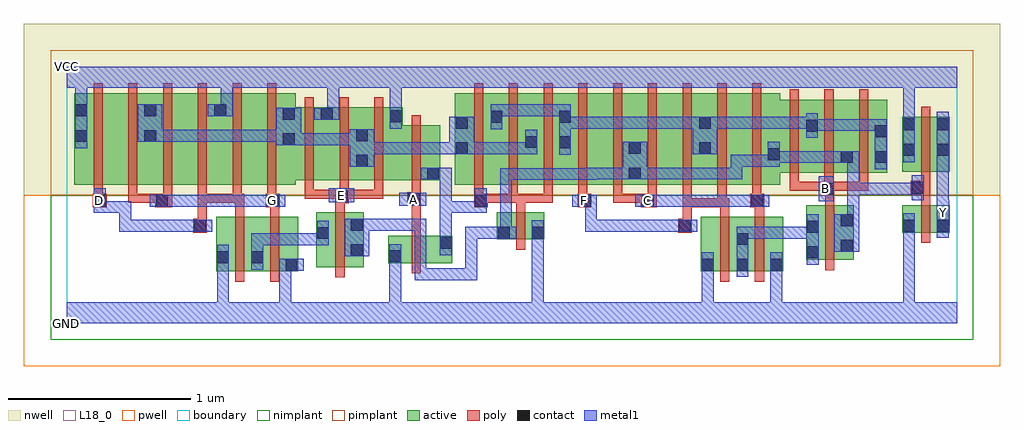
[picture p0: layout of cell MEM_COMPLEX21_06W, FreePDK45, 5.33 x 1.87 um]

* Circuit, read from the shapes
.subckt MEM_COMPLEX21_06W A B C D E F G GND VCC Y
M1 n1 D GND VSUBS nfet w=0.3u l=0.05u
M2 GND G n1 VSUBS nfet w=0.3u l=0.05u
M3 n2 E n1 VSUBS nfet w=0.3u l=0.05u
M4 n3 A GND VSUBS nfet w=0.15u l=0.05u
M5 GND n3 n2 VSUBS nfet w=0.15u l=0.05u
M6 n4 F GND VSUBS nfet w=0.3u l=0.05u
M7 GND C n4 VSUBS nfet w=0.3u l=0.05u
M8 n2 B n4 VSUBS nfet w=0.3u l=0.05u
M9 Y n2 GND VSUBS nfet w=0.15u l=0.05u
M10 n5 D VCC n6 pfet w=0.5u l=0.05u
M11 n7 G n5 n6 pfet w=0.5u l=0.05u
M12 n8 G n7 n6 pfet w=0.5u l=0.05u
M13 VCC D n8 n6 pfet w=0.5u l=0.05u
M14 n9 D VCC n6 pfet w=0.5u l=0.05u
M15 n7 G n9 n6 pfet w=0.5u l=0.05u
M16 VCC E n7 n6 pfet w=0.4u l=0.05u m=3
M17 n3 A VCC n6 pfet w=0.3u l=0.05u
M18 n10 n3 n7 n6 pfet w=0.5u l=0.05u m=3
M19 n11 F n10 n6 pfet w=0.5u l=0.05u
M20 n2 C n11 n6 pfet w=0.5u l=0.05u
M21 n12 C n2 n6 pfet w=0.5u l=0.05u
M22 n10 F n12 n6 pfet w=0.5u l=0.05u
M23 n13 F n10 n6 pfet w=0.5u l=0.05u
M24 n2 C n13 n6 pfet w=0.5u l=0.05u
M25 n10 B n2 n6 pfet w=0.4u l=0.05u m=3
M26 Y n2 VCC n6 pfet w=0.3u l=0.05u
.ends

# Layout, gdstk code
import gdstk
lib = gdstk.Library(unit=1e-6, precision=1e-09)
def R(c, l, rs):  # rectangles x0, y0, x1, y1
    for r in rs: c.add(gdstk.rectangle(r[:2], r[2:], *l))
def A(c, l, x, y, w, h, nx, ny, dx, dy):  # array of equal rectangles
    R(c, l, [(x+i*dx, y+j*dy, x+i*dx+w, y+j*dy+h) for i in range(nx) for j in range(ny)])
active = (1, 0)
pwell = (2, 0)
nwell = (3, 0)
nimplant = (4, 0)
pimplant = (5, 0)
poly = (9, 0)
contact = (10, 0)
metal1 = (11, 0)
L18_0 = (18, 0)
boundary = (235, 0)

mem_complex21_06w = lib.new_cell('MEM_COMPLEX21_06W')
R(mem_complex21_06w, active, [(0.815,0.282,0.89,0.582), (0.815,0.282,1.077,0.582), (1.002,0.282,1.077,0.582), (1.002,0.282,1.265,0.582), (1.19,0.282,1.265,0.582), (3.465,0.282,3.54,0.582), (3.465,0.282,3.73,0.582), (3.655,0.282,3.915,0.582), (3.655,0.282,3.73,0.497), (3.84,0.282,3.915,0.582), (1.362,0.305,1.622,0.605), (1.757,0.327,1.832,0.477), (1.757,0.327,2.107,0.477), (2.032,0.33,2.107,0.477), (1.362,0.345,1.437,0.605), (1.547,0.345,1.622,0.605), (4.04,0.345,4.115,0.645), (4.04,0.345,4.3,0.645), (4.225,0.345,4.3,0.645), (2.35,0.457,2.425,0.607), (2.35,0.457,2.61,0.607), (2.535,0.457,2.61,0.607), (4.565,0.495,4.64,0.645), (4.565,0.495,4.825,0.645), (4.75,0.495,4.825,0.645), (0.04,0.757,0.265,1.257), (0.04,0.757,0.115,1.255), (0.265,0.757,0.492,1.257), (0.417,0.757,0.492,1.2), (0.417,0.757,0.645,1.257), (0.645,0.757,0.875,1.257), (0.8,0.757,1.025,1.257), (0.8,0.757,0.875,1.255), (1.025,0.757,1.25,1.257), (2.12,0.757,2.195,1.2), (2.12,0.757,2.385,1.257), (2.31,0.757,2.385,1.2), (2.31,0.757,2.575,1.257), (2.5,0.757,2.575,1.07), (2.5,0.757,2.76,1.257), (2.685,0.757,2.76,1.2), (2.685,0.757,2.915,1.257), (2.915,0.757,3.142,1.257), (3.067,0.757,3.295,1.257), (3.067,0.757,3.142,1.07), (3.295,0.757,3.525,1.257), (3.45,0.757,3.675,1.257), (3.45,0.757,3.525,1.2), (3.675,0.757,3.9,1.257), (1.175,0.78,1.457,1.18), (1.382,0.78,1.65,1.18), (1.575,0.78,1.835,1.18), (1.575,0.78,1.65,1.155), (1.76,0.78,2.04,1.08), (1.965,0.78,2.04,1.055), (3.825,0.822,3.9,1.07), (3.825,0.822,4.11,1.222), (4.035,0.822,4.3,1.222), (4.225,0.822,4.485,1.222), (4.225,0.822,4.3,1.07), (4.41,0.822,4.485,1.155), (4.565,0.827,4.64,1.127), (4.565,0.827,4.825,1.127), (4.75,0.827,4.825,1.125), (1.175,0.907,1.25,1.2), (1.382,0.907,1.457,1.18), (4.035,0.907,4.11,1.157), (1.76,0.995,1.835,1.167)])
R(mem_complex21_06w, pwell, [(-0.235,-0.235,5.1,0.7)])
R(mem_complex21_06w, nwell, [(-0.235,0.7,5.1,1.635)])
R(mem_complex21_06w, nimplant, [(-0.09,-0.09,4.955,0.7)])
R(mem_complex21_06w, pimplant, [(-0.09,0.7,4.955,1.49)])
A(mem_complex21_06w, poly, 0.145, 0.657, 0.05, 0.095, 6, 1, 0.19, 0)
A(mem_complex21_06w, poly, 2.225, 0.657, 0.05, 0.095, 6, 1, 0.19, 0)
A(mem_complex21_06w, poly, 1.3, 0.68, 0.05, 0.095, 3, 1, 0.19, 0)
A(mem_complex21_06w, poly, 0.145, 0.702, 0.05, 0.61, 6, 1, 0.19, 0)
A(mem_complex21_06w, poly, 2.225, 0.702, 0.05, 0.61, 9, 1, 0.19, 0)
A(mem_complex21_06w, poly, 3.95, 0.722, 0.05, 0.095, 3, 1, 0.19, 0)
A(mem_complex21_06w, poly, 1.3, 0.725, 0.05, 0.51, 3, 1, 0.19, 0)
A(mem_complex21_06w, poly, 3.95, 0.767, 0.05, 0.51, 3, 1, 0.19, 0)
R(mem_complex21_06w, poly, [(0.92,0.227,0.97,0.637), (1.11,0.227,1.16,0.637), (3.57,0.227,3.62,0.637), (3.76,0.227,3.81,0.637), (1.467,0.25,1.517,0.66), (1.885,0.272,1.935,0.532), (4.145,0.29,4.195,0.7), (2.455,0.402,2.505,0.662), (4.67,0.44,4.72,0.7), (1.885,0.482,1.935,0.69), (0.69,0.495,0.765,0.57), (3.34,0.495,3.415,0.57), (0.715,0.52,0.765,0.707), (3.365,0.52,3.415,0.57), (3.365,0.52,3.415,0.57), (3.365,0.52,3.415,0.682), (0.92,0.587,0.97,0.707), (1.11,0.587,1.16,0.682), (3.57,0.587,3.62,0.682), (3.76,0.587,3.81,0.682), (1.467,0.61,1.517,0.705), (2.455,0.612,2.505,0.707), (0.142,0.632,0.217,0.707), (0.482,0.632,0.575,0.707), (1.087,0.632,1.162,0.707), (2.225,0.632,2.3,0.707), (2.792,0.632,2.867,0.707), (3.137,0.632,3.225,0.707), (3.365,0.632,3.415,0.682), (3.365,0.632,3.415,0.682), (3.365,0.632,3.415,0.682), (3.365,0.632,3.415,0.752), (3.365,0.632,3.605,0.682), (3.555,0.632,3.605,0.752), (3.555,0.632,3.62,0.682), (3.735,0.632,3.81,0.707), (1.86,0.64,1.935,0.715), (4.145,0.65,4.195,0.747), (4.67,0.65,4.72,0.752), (1.465,0.655,1.54,0.73), (0.335,0.657,0.385,0.707), (0.335,0.657,0.385,0.707), (0.335,0.657,0.385,0.707), (0.335,0.657,0.532,0.707), (0.715,0.657,0.765,0.707), (0.715,0.657,0.765,0.707), (0.715,0.657,0.765,0.707), (0.715,0.657,0.955,0.707), (0.905,0.657,0.955,0.707), (0.905,0.657,0.955,0.707), (0.905,0.657,0.97,0.707), (2.25,0.657,2.465,0.707), (2.415,0.657,2.465,0.707), (2.415,0.657,2.465,0.707), (2.415,0.657,2.505,0.707), (2.455,0.657,2.655,0.707), (2.605,0.657,2.655,0.707), (2.605,0.657,2.655,0.707), (2.605,0.657,2.655,0.707), (2.985,0.657,3.035,0.707), (2.985,0.657,3.035,0.707), (2.985,0.657,3.035,0.707), (2.985,0.657,3.187,0.707), (3.745,0.657,3.795,0.752), (1.885,0.665,1.935,0.775), (1.3,0.68,1.35,0.73), (1.3,0.68,1.515,0.73), (1.465,0.68,1.515,0.73), (1.465,0.68,1.515,0.73), (1.49,0.68,1.73,0.73), (1.68,0.68,1.73,0.73), (1.68,0.68,1.73,0.73), (1.68,0.68,1.73,0.73), (4.12,0.697,4.195,0.772), (4.612,0.702,4.72,0.777), (3.95,0.722,4,0.772), (3.95,0.722,4,0.772), (3.95,0.722,4,0.772), (3.95,0.722,4.17,0.772), (4.145,0.722,4.38,0.772), (4.145,0.722,4.195,0.772), (4.145,0.722,4.195,0.772), (4.33,0.722,4.38,0.772), (1.885,0.725,1.935,1.135), (4.67,0.727,4.72,0.822), (4.67,0.772,4.72,1.182)])
R(mem_complex21_06w, contact, [(1.195,0.287,1.26,0.352), (3.47,0.287,3.535,0.352), (3.66,0.287,3.725,0.352), (3.845,0.287,3.91,0.352), (0.82,0.327,0.885,0.392), (1.007,0.327,1.072,0.392), (1.762,0.332,1.827,0.397), (4.045,0.355,4.11,0.42), (1.552,0.365,1.617,0.43), (4.23,0.39,4.295,0.455), (2.037,0.407,2.102,0.472), (3.66,0.427,3.725,0.492), (1.367,0.46,1.432,0.525), (2.355,0.462,2.42,0.527), (2.54,0.462,2.605,0.527), (4.045,0.495,4.11,0.56), (0.695,0.5,0.76,0.565), (3.345,0.5,3.41,0.565), (4.57,0.5,4.635,0.565), (4.755,0.5,4.82,0.565), (1.552,0.505,1.617,0.57), (4.23,0.53,4.295,0.595), (0.147,0.637,0.212,0.702), (0.487,0.637,0.552,0.702), (1.092,0.637,1.157,0.702), (2.23,0.637,2.295,0.702), (2.797,0.637,2.862,0.702), (3.142,0.637,3.207,0.702), (3.74,0.637,3.805,0.702), (1.865,0.645,1.93,0.71), (1.47,0.66,1.535,0.725), (4.125,0.702,4.19,0.767), (4.617,0.707,4.682,0.772), (1.97,0.785,2.035,0.85), (3.072,0.785,3.137,0.85), (1.58,0.855,1.645,0.92), (4.23,0.875,4.295,0.94), (4.415,0.875,4.48,0.94), (3.83,0.89,3.895,0.955), (4.57,0.915,4.635,0.98), (4.755,0.915,4.82,0.98), (2.125,0.922,2.19,0.987), (3.455,0.922,3.52,0.987), (3.072,0.925,3.137,0.99), (2.69,0.955,2.755,1.02), (2.505,0.957,2.57,1.022), (1.18,0.972,1.245,1.037), (0.045,0.99,0.11,1.055), (0.422,0.99,0.487,1.055), (1.58,0.995,1.645,1.06), (4.415,1.015,4.48,1.08), (4.04,1.047,4.105,1.112), (4.57,1.055,4.635,1.12), (4.755,1.055,4.82,1.12), (2.125,1.062,2.19,1.127), (3.455,1.062,3.52,1.127), (2.315,1.095,2.38,1.16), (2.69,1.095,2.755,1.16), (1.765,1.097,1.83,1.162), (1.387,1.11,1.452,1.175), (1.18,1.112,1.245,1.177), (0.045,1.13,0.11,1.195), (0.422,1.13,0.487,1.195), (0.805,1.13,0.87,1.195)])
R(mem_complex21_06w, metal1, [(0,0,4.865,0.115), (0.82,0.05,0.885,0.115), (0.82,0.05,0.885,0.115), (0.82,0.05,0.885,0.115), (0.82,0.05,0.885,0.115), (0.82,0.05,0.885,0.357), (1.16,0.05,1.225,0.352), (1.762,0.05,1.827,0.115), (1.762,0.05,1.827,0.115), (1.762,0.05,1.827,0.362), (2.54,0.05,2.605,0.115), (2.54,0.05,2.605,0.115), (2.54,0.05,2.605,0.115), (2.54,0.05,2.605,0.115), (2.54,0.05,2.605,0.115), (2.54,0.05,2.605,0.115), (2.54,0.05,2.605,0.492), (3.47,0.05,3.535,0.115), (3.47,0.05,3.535,0.115), (3.47,0.05,3.535,0.115), (3.47,0.05,3.535,0.115), (3.47,0.05,3.535,0.317), (3.845,0.05,3.91,0.115), (3.845,0.05,3.91,0.115), (3.845,0.05,3.91,0.317), (4.57,0.05,4.635,0.115), (4.57,0.05,4.635,0.115), (4.57,0.05,4.635,0.115), (4.57,0.05,4.635,0.115), (4.57,0.05,4.635,0.115), (4.57,0.05,4.635,0.115), (4.57,0.05,4.635,0.53), (1.9,0.235,1.965,0.3), (1.9,0.235,1.965,0.3), (1.9,0.235,1.965,0.3), (1.9,0.235,2.242,0.3), (1.9,0.235,1.965,0.57), (2.177,0.235,2.242,0.3), (2.177,0.235,2.242,0.527), (3.47,0.252,3.535,0.387), (3.66,0.252,3.725,0.527), (3.845,0.252,3.91,0.317), (3.845,0.252,3.91,0.317), (3.845,0.252,3.91,0.387), (1.16,0.287,1.225,0.352), (1.16,0.287,1.225,0.352), (1.16,0.287,1.225,0.352), (1.16,0.287,1.225,0.352), (1.16,0.287,1.295,0.352), (0.82,0.292,0.885,0.427), (1.007,0.292,1.072,0.427), (1.762,0.297,1.827,0.362), (1.762,0.297,1.827,0.362), (1.762,0.297,1.827,0.362), (1.762,0.297,1.827,0.362), (1.762,0.297,1.827,0.432), (4.045,0.32,4.11,0.595), (1.007,0.362,1.072,0.427), (1.007,0.362,1.072,0.49), (1.517,0.365,1.652,0.57), (2.037,0.372,2.102,0.507), (4.195,0.39,4.33,0.595), (1.007,0.425,1.28,0.49), (1.215,0.425,1.28,0.49), (1.215,0.425,1.28,0.49), (1.215,0.425,1.28,0.49), (1.215,0.425,1.432,0.49), (1.367,0.425,1.432,0.56), (2.54,0.427,2.605,0.562), (2.037,0.442,2.102,0.667), (2.177,0.462,2.242,0.527), (2.177,0.462,2.242,0.527), (2.177,0.462,2.242,0.527), (2.177,0.462,2.385,0.527), (2.32,0.462,2.455,0.527), (2.367,0.462,2.432,0.527), (2.367,0.462,2.432,0.527), (2.367,0.462,2.432,0.847), (3.66,0.462,3.725,0.527), (3.66,0.462,3.725,0.527), (3.66,0.462,3.967,0.527), (3.902,0.462,3.967,0.527), (3.902,0.462,3.967,0.527), (3.902,0.462,3.967,0.527), (3.902,0.462,4.11,0.527), (4.57,0.465,4.635,0.6), (4.755,0.465,4.82,0.6), (0.285,0.5,0.35,0.565), (0.285,0.5,0.587,0.565), (0.285,0.5,0.35,0.667), (0.522,0.5,0.587,0.565), (0.522,0.5,0.66,0.565), (0.595,0.5,0.66,0.565), (0.595,0.5,0.66,0.565), (0.595,0.5,0.66,0.565), (0.595,0.5,0.725,0.565), (0.66,0.5,0.795,0.565), (2.832,0.5,2.897,0.565), (2.832,0.5,3.035,0.565), (2.832,0.5,2.897,0.702), (2.97,0.5,3.035,0.565), (2.97,0.5,3.035,0.565), (2.97,0.5,3.035,0.565), (2.97,0.5,3.22,0.565), (3.155,0.5,3.22,0.565), (3.155,0.5,3.347,0.565), (3.282,0.5,3.347,0.565), (3.282,0.5,3.347,0.565), (3.282,0.5,3.347,0.565), (3.282,0.5,3.375,0.565), (3.31,0.5,3.445,0.565), (1.587,0.505,1.652,0.57), (1.587,0.505,1.652,0.57), (1.587,0.505,1.827,0.57), (1.762,0.505,1.827,0.57), (1.762,0.505,1.965,0.57), (1.9,0.505,1.965,0.57), (4.265,0.53,4.33,0.767), (4.755,0.535,4.82,0.6), (4.755,0.535,4.822,0.672), (0.147,0.602,0.212,0.667), (0.147,0.602,0.212,0.667), (0.147,0.602,0.212,0.737), (0.147,0.602,0.35,0.667), (0.285,0.602,0.35,0.667), (0.285,0.602,0.35,0.667), (0.285,0.602,0.35,0.667), (2.037,0.602,2.102,0.667), (2.037,0.602,2.102,0.667), (2.037,0.602,2.102,0.667), (2.037,0.602,2.295,0.667), (2.037,0.602,2.102,0.85), (2.23,0.602,2.295,0.737), (4.755,0.607,4.82,0.945), (0.452,0.637,0.587,0.702), (0.522,0.637,0.66,0.702), (0.595,0.637,0.66,0.702), (0.595,0.637,0.797,0.702), (0.732,0.637,0.797,0.702), (0.732,0.637,0.797,0.702), (0.732,0.637,0.797,0.702), (0.732,0.637,0.935,0.702), (0.87,0.637,0.935,0.702), (0.87,0.637,0.935,0.702), (0.87,0.637,0.935,0.702), (0.87,0.637,1.122,0.702), (1.057,0.637,1.192,0.702), (2.762,0.637,2.897,0.702), (2.832,0.637,2.897,0.702), (2.832,0.637,2.897,0.702), (3.107,0.637,3.242,0.702), (3.177,0.637,3.347,0.702), (3.282,0.637,3.347,0.702), (3.282,0.637,3.38,0.702), (3.315,0.637,3.38,0.702), (3.315,0.637,3.555,0.702), (3.49,0.637,3.555,0.702), (3.49,0.637,3.555,0.702), (3.49,0.637,3.555,0.702), (3.49,0.637,3.72,0.702), (3.655,0.637,3.72,0.702), (3.655,0.637,3.77,0.702), (3.705,0.637,3.84,0.702), (1.817,0.642,1.965,0.712), (1.432,0.66,1.57,0.737), (4.11,0.667,4.19,0.802), (4.617,0.672,4.682,0.807), (4.265,0.702,4.33,0.767), (4.265,0.702,4.407,0.767), (4.265,0.702,4.33,0.94), (4.342,0.702,4.407,0.767), (4.342,0.702,4.545,0.767), (4.48,0.702,4.545,0.767), (4.48,0.702,4.545,0.767), (4.48,0.702,4.545,0.767), (4.48,0.702,4.682,0.767), (2.367,0.782,2.432,0.847), (2.367,0.782,2.432,0.847), (2.367,0.782,2.432,0.847), (2.367,0.782,2.57,0.847), (2.505,0.782,2.57,0.847), (2.505,0.782,2.57,0.847), (2.505,0.782,2.57,0.847), (2.505,0.782,2.742,0.847), (2.677,0.782,2.742,0.847), (2.677,0.782,2.742,0.847), (2.677,0.782,2.742,0.847), (2.677,0.782,2.897,0.847), (2.832,0.782,2.897,0.85), (1.935,0.785,2.102,0.85), (2.832,0.785,3.035,0.85), (2.97,0.785,3.035,0.85), (2.97,0.785,3.102,0.85), (3.037,0.785,3.172,0.99), (3.107,0.785,3.172,0.85), (3.107,0.785,3.172,0.85), (3.107,0.785,3.347,0.85), (3.282,0.785,3.347,0.85), (3.282,0.785,3.38,0.85), (3.315,0.785,3.38,0.85), (3.315,0.785,3.555,0.85), (3.49,0.785,3.555,0.85), (3.49,0.785,3.555,0.85), (3.49,0.785,3.555,0.85), (3.49,0.785,3.692,0.85), (3.627,0.785,3.692,0.92), (4.415,0.84,4.48,1.115), (1.545,0.855,1.68,1.06), (3.627,0.855,3.692,0.92), (3.627,0.855,3.692,0.92), (3.627,0.855,3.895,0.92), (3.83,0.855,3.895,0.99), (3.83,0.875,3.895,0.94), (3.83,0.875,3.895,0.94), (3.83,0.875,4.105,0.94), (4.04,0.875,4.105,0.94), (4.04,0.875,4.26,0.94), (4.195,0.875,4.26,0.94), (4.195,0.875,4.26,0.94), (4.195,0.875,4.33,0.94), (4.57,0.88,4.635,1.155), (4.755,0.88,4.82,1.155), (2.69,0.92,2.755,1.195), (1.615,0.922,1.68,0.987), (1.615,0.922,1.68,0.987), (1.615,0.922,1.817,0.987), (1.752,0.922,1.817,0.987), (1.752,0.922,1.817,0.987), (1.752,0.922,1.817,0.987), (1.752,0.922,1.817,0.987), (1.752,0.922,1.817,0.987), (1.752,0.922,1.967,0.987), (1.902,0.922,1.967,0.987), (1.902,0.922,2.155,0.987), (2.09,0.922,2.225,1.127), (2.16,0.922,2.24,0.987), (2.175,0.922,2.24,0.987), (2.175,0.922,2.432,0.987), (2.367,0.922,2.432,0.987), (2.367,0.922,2.432,0.987), (2.367,0.922,2.432,0.987), (2.367,0.922,2.57,0.987), (2.505,0.922,2.57,1.057), (3.42,0.922,3.555,1.127), (0.045,0.955,0.11,1.23), (1.145,0.972,1.28,1.177), (1.215,0.972,1.28,1.037), (1.215,0.972,1.28,1.037), (1.215,0.972,1.445,1.037), (1.38,0.972,1.445,1.037), (1.38,0.972,1.445,1.037), (1.38,0.972,1.445,1.037), (1.38,0.972,1.61,1.037), (0.387,0.99,0.522,1.195), (0.457,0.992,0.522,1.057), (0.457,0.992,0.522,1.057), (0.457,0.992,0.66,1.057), (0.595,0.992,0.66,1.057), (0.595,0.992,0.797,1.057), (0.732,0.992,0.797,1.057), (0.732,0.992,0.797,1.057), (0.732,0.992,0.797,1.057), (0.732,0.992,0.935,1.057), (0.87,0.992,0.935,1.057), (0.87,0.992,0.935,1.057), (0.87,0.992,0.935,1.057), (0.87,0.992,1.142,1.057), (1.077,0.992,1.142,1.057), (1.077,0.992,1.21,1.057), (4.04,1.012,4.105,1.147), (4.04,1.05,4.105,1.115), (4.04,1.05,4.105,1.115), (4.04,1.05,4.242,1.115), (4.177,1.05,4.242,1.115), (4.177,1.05,4.407,1.115), (4.342,1.05,4.407,1.115), (4.342,1.05,4.48,1.115), (2.315,1.06,2.38,1.195), (1.765,1.062,1.83,1.197), (2.69,1.062,2.755,1.127), (2.69,1.062,2.755,1.127), (2.69,1.062,2.897,1.127), (2.832,1.062,2.897,1.127), (2.832,1.062,3.035,1.127), (2.97,1.062,3.035,1.127), (2.97,1.062,3.172,1.127), (3.107,1.062,3.172,1.127), (3.107,1.062,3.172,1.127), (3.107,1.062,3.172,1.127), (3.107,1.062,3.347,1.127), (3.282,1.062,3.347,1.127), (3.282,1.062,3.38,1.127), (3.315,1.062,3.38,1.127), (3.315,1.062,3.485,1.127), (3.49,1.062,3.555,1.127), (3.49,1.062,3.555,1.127), (3.49,1.062,3.757,1.127), (3.692,1.062,3.757,1.127), (3.692,1.062,3.757,1.127), (3.692,1.062,3.757,1.127), (3.692,1.062,3.967,1.127), (3.902,1.062,3.967,1.127), (3.902,1.062,3.967,1.127), (3.902,1.062,3.967,1.127), (3.902,1.062,4.105,1.127), (4.57,1.09,4.635,1.35), (1.352,1.11,1.487,1.175), (1.422,1.11,1.487,1.35), (0.77,1.13,0.905,1.195), (0.84,1.13,0.905,1.35), (2.315,1.13,2.432,1.195), (2.367,1.13,2.432,1.195), (2.367,1.13,2.57,1.195), (2.505,1.13,2.57,1.195), (2.505,1.13,2.57,1.195), (2.505,1.13,2.57,1.195), (2.505,1.13,2.755,1.195), (1.765,1.132,1.83,1.35), (0.045,1.165,0.11,1.35), (0,1.285,4.865,1.4), (4.57,1.285,4.635,1.35), (4.57,1.285,4.635,1.35)])
R(mem_complex21_06w, L18_0, [(0,0,4.865,0.115), (0.82,0.05,0.885,0.115), (0.82,0.05,0.885,0.115), (0.82,0.05,0.885,0.115), (0.82,0.05,0.885,0.115), (0.82,0.05,0.885,0.357), (1.16,0.05,1.225,0.352), (1.762,0.05,1.827,0.115), (1.762,0.05,1.827,0.115), (1.762,0.05,1.827,0.362), (2.54,0.05,2.605,0.115), (2.54,0.05,2.605,0.115), (2.54,0.05,2.605,0.115), (2.54,0.05,2.605,0.115), (2.54,0.05,2.605,0.115), (2.54,0.05,2.605,0.115), (2.54,0.05,2.605,0.492), (3.47,0.05,3.535,0.115), (3.47,0.05,3.535,0.115), (3.47,0.05,3.535,0.115), (3.47,0.05,3.535,0.115), (3.47,0.05,3.535,0.317), (3.845,0.05,3.91,0.115), (3.845,0.05,3.91,0.115), (3.845,0.05,3.91,0.317), (4.57,0.05,4.635,0.115), (4.57,0.05,4.635,0.115), (4.57,0.05,4.635,0.115), (4.57,0.05,4.635,0.115), (4.57,0.05,4.635,0.115), (4.57,0.05,4.635,0.115), (4.57,0.05,4.635,0.53), (3.47,0.252,3.535,0.387), (3.845,0.252,3.91,0.387), (3.845,0.252,3.91,0.317), (3.845,0.252,3.91,0.317), (1.16,0.287,1.225,0.352), (1.16,0.287,1.225,0.352), (1.16,0.287,1.225,0.352), (1.16,0.287,1.225,0.352), (1.16,0.287,1.295,0.352), (0.82,0.292,0.885,0.427), (1.762,0.297,1.827,0.432), (1.762,0.297,1.827,0.362), (1.762,0.297,1.827,0.362), (1.762,0.297,1.827,0.362), (1.762,0.297,1.827,0.362), (2.54,0.427,2.605,0.562), (4.57,0.465,4.635,0.6), (4.755,0.465,4.82,0.6), (0.285,0.5,0.35,0.565), (0.285,0.5,0.35,0.667), (0.285,0.5,0.587,0.565), (0.522,0.5,0.587,0.565), (0.522,0.5,0.66,0.565), (0.595,0.5,0.66,0.565), (0.595,0.5,0.66,0.565), (0.595,0.5,0.66,0.565), (0.595,0.5,0.725,0.565), (0.66,0.5,0.795,0.565), (2.832,0.5,2.897,0.565), (2.832,0.5,3.035,0.565), (2.832,0.5,2.897,0.702), (2.97,0.5,3.035,0.565), (2.97,0.5,3.035,0.565), (2.97,0.5,3.035,0.565), (2.97,0.5,3.22,0.565), (3.155,0.5,3.22,0.565), (3.155,0.5,3.347,0.565), (3.282,0.5,3.347,0.565), (3.282,0.5,3.347,0.565), (3.282,0.5,3.347,0.565), (3.282,0.5,3.375,0.565), (3.31,0.5,3.445,0.565), (4.755,0.535,4.82,0.6), (4.755,0.535,4.822,0.672), (4.757,0.572,4.822,0.637), (0.147,0.602,0.212,0.737), (0.147,0.602,0.212,0.667), (0.147,0.602,0.212,0.667), (0.147,0.602,0.35,0.667), (0.285,0.602,0.35,0.667), (0.285,0.602,0.35,0.667), (0.285,0.602,0.35,0.667), (4.755,0.607,4.82,0.945), (0.147,0.637,0.212,0.702), (0.452,0.637,0.587,0.702), (0.522,0.637,0.66,0.702), (0.595,0.637,0.66,0.702), (0.595,0.637,0.797,0.702), (0.732,0.637,0.797,0.702), (0.732,0.637,0.797,0.702), (0.732,0.637,0.797,0.702), (0.732,0.637,0.935,0.702), (0.87,0.637,0.935,0.702), (0.87,0.637,0.935,0.702), (0.87,0.637,0.935,0.702), (0.87,0.637,1.122,0.702), (1.057,0.637,1.192,0.702), (1.092,0.637,1.157,0.702), (2.762,0.637,2.897,0.702), (2.797,0.637,2.862,0.702), (2.832,0.637,2.897,0.702), (2.832,0.637,2.897,0.702), (3.107,0.637,3.242,0.702), (3.142,0.637,3.207,0.702), (3.177,0.637,3.347,0.702), (3.282,0.637,3.347,0.702), (3.282,0.637,3.38,0.702), (3.315,0.637,3.38,0.702), (3.315,0.637,3.555,0.702), (3.49,0.637,3.555,0.702), (3.49,0.637,3.555,0.702), (3.49,0.637,3.555,0.702), (3.49,0.637,3.72,0.702), (3.655,0.637,3.72,0.702), (3.655,0.637,3.77,0.702), (3.705,0.637,3.84,0.702), (1.817,0.642,1.965,0.712), (1.862,0.642,1.927,0.707), (1.432,0.66,1.57,0.737), (1.467,0.662,1.532,0.727), (4.11,0.667,4.19,0.802), (4.112,0.702,4.177,0.767), (4.57,0.88,4.635,1.155), (4.755,0.88,4.82,1.155), (0.045,0.955,0.11,1.23), (1.765,1.062,1.83,1.197), (4.57,1.09,4.635,1.35), (1.352,1.11,1.487,1.175), (1.422,1.11,1.487,1.35), (0.77,1.13,0.905,1.195), (0.84,1.13,0.905,1.35), (1.765,1.132,1.83,1.35), (0.045,1.165,0.11,1.35), (0,1.285,4.865,1.4), (4.57,1.285,4.635,1.35), (4.57,1.285,4.635,1.35)])
R(mem_complex21_06w, boundary, [(0,0,4.865,1.4)])
mem_complex21_06w.add(gdstk.Label('A', (1.895,0.675), layer=11, texttype=0))
mem_complex21_06w.add(gdstk.Label('B', (4.145,0.735), layer=11, texttype=0))
mem_complex21_06w.add(gdstk.Label('C', (3.175,0.67), layer=11, texttype=0))
mem_complex21_06w.add(gdstk.Label('D', (0.18,0.67), layer=11, texttype=0))
mem_complex21_06w.add(gdstk.Label('E', (1.5,0.695), layer=11, texttype=0))
mem_complex21_06w.add(gdstk.Label('F', (2.83,0.67), layer=11, texttype=0))
mem_complex21_06w.add(gdstk.Label('G', (1.125,0.67), layer=11, texttype=0))
mem_complex21_06w.add(gdstk.Label('Y', (4.79,0.605), layer=11, texttype=0))
mem_complex21_06w.add(gdstk.Label('VCC', (0,1.4), layer=11, texttype=0))
mem_complex21_06w.add(gdstk.Label('GND', (0,0), layer=11, texttype=0))

lib.write_gds('MEM_COMPLEX21_06W.gds')
